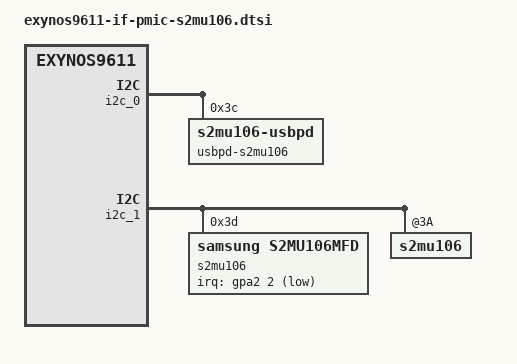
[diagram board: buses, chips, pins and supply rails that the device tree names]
/*
 * SAMSUNG EXYNOS9611 board common device tree source
 *
 * Copyright (c) 2020 Samsung Electronics Co., Ltd.
 *		http://www.samsung.com
 *
 * This program is free software; you can redistribute it and/or modify
 * it under the terms of the GNU General Public License version 2 as
 * published by the Free Software Foundation.
 */

&pinctrl_0 {
	if_pmic_irq: if-pmic-irq {
		samsung,pins = "gpa2-2";
		samsung,pin-function = <0>;
		samsung,pin-pud = <0>;
		samsung,pin-drv = <0>;
	};

	usbpd_irq: usbpd-irq {
		samsung,pins = "gpa2-3";
		samsung,pin-function = <0x0f>;
		samsung,pin-pud = <0>;
		samsung,pin-drv = <0>;
	};
};

&i2c_0 {
	i2c-gpio,delay-us = <1>;
	#address-cells = <0>;
	status = "okay";
	samsung,glitch-filter;
	samsung,fix-doxfer-return;
	#size-cells = <0>;
	samsung,i2c-max-bus-freq = <400000>;
	usbpd-s2mu106@3C {
		status = "okay";
		compatible = "s2mu106-usbpd";
		reg = <0x3C>;
		pinctrl-names = "default";
		pinctrl-0 = <&usbpd_irq>;
		usbpd,usbpd_int = <&gpa2 3 0>;
	};
};

&i2c_1 {
	#address-cells = <1>;
	#size-cells = <0>;
	status = "okay";
	samsung,glitch-filter;
	samsung,fix-doxfer-return;
	samsung,i2c-max-bus-freq = <400000>;
	s2mu106@3D {
		status = "okay";
		compatible = "samsung,s2mu106mfd";
		reg = <0x3D>;
		pinctrl-names = "default";
		pinctrl-0 = <&if_pmic_irq>;
		s2mu106,irq-gpio = <&gpa2 2 1>;
		s2mu106,wakeup;
	};
	s2mu106@3A {
		s2mu106-haptic {
			compatible = "sec,s2mu106-haptic";
			status = "okay";
			pinctrl-names = "default";
			pinctrl-0 = <&motor_en>;
			haptic,operation_mode = <1>; /* 0 : ERM_I2C, 1 : ERM_GPIO, 2 : LRA */
			haptic,motor_en = <&gpa2 1 0>;
			haptic,motor_type = "COINDC";
		};
	};
};
